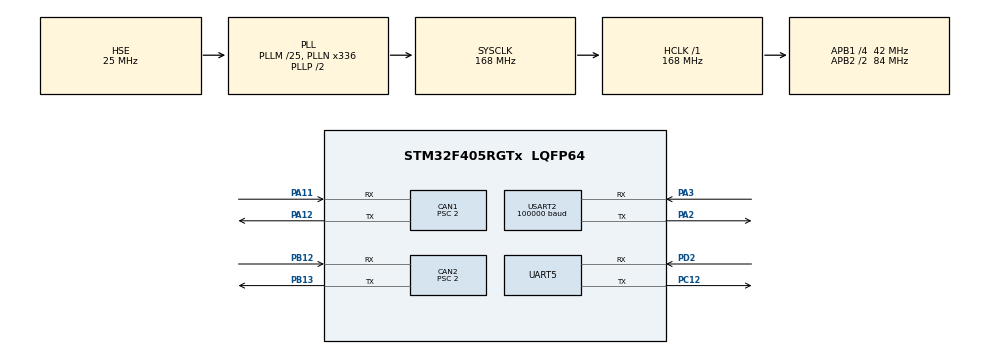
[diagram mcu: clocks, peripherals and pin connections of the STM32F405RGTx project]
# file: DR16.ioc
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CAN1.BS1=CAN_BS1_15TQ
CAN1.BS2=CAN_BS2_5TQ
CAN1.CalculateBaudRate=1000000
CAN1.CalculateTimeBit=1000
CAN1.CalculateTimeQuantum=47.61904761904762
CAN1.Prescaler=2
CAN1.SJW=CAN_SJW_2TQ
CAN2.BS1=CAN_BS1_15TQ
CAN2.BS2=CAN_BS2_5TQ
CAN2.CalculateBaudRate=1000000
CAN2.CalculateTimeBit=1000
CAN2.CalculateTimeQuantum=47.61904761904762
CAN2.Prescaler=2
CAN2.SJW=CAN_SJW_2TQ
Dma.Request0=USART2_RX
Dma.USART2_RX.0.Direction=DMA_PERIPH_TO_MEMORY
Dma.USART2_RX.0.FIFOMode=DMA_FIFOMODE_DISABLE
Dma.USART2_RX.0.Instance=DMA1_Stream5
Dma.USART2_RX.0.MemDataAlignment=DMA_MDATAALIGN_BYTE
Dma.USART2_RX.0.MemInc=DMA_MINC_ENABLE
Dma.USART2_RX.0.Mode=DMA_CIRCULAR
Dma.USART2_RX.0.PeriphDataAlignment=DMA_PDATAALIGN_BYTE
Dma.USART2_RX.0.PeriphInc=DMA_PINC_DISABLE
Dma.USART2_RX.0.Priority=DMA_PRIORITY_VERY_HIGH
FREERTOS.Tasks01=defaultTask,24,128,StartDefaultTask,Default,NULL,Dynamic,NULL,NULL;friction,8,128,vfriction,Default,NULL,Dynamic,NULL,NULL;Dial,8,128,vDial,Default,NULL,Dynamic,NULL,NULL;pitch,8,128,vpitch,Default,NULL,Dynamic,NULL,NULL;yaw,8,128,vyaw,Default,NULL,Dynamic,NULL,NULL
Mcu.Family=STM32F4
Mcu.Name=STM32F405RGTx
Mcu.Package=LQFP64
NVIC.CAN1_RX0_IRQn=true\:5\:0\:false\:false\:true\:true\:true\:true\:true
NVIC.CAN2_RX0_IRQn=true\:5\:0\:false\:false\:true\:true\:true\:true\:true
NVIC.DMA1_Stream5_IRQn=true\:5\:0\:false\:false\:true\:true\:false\:true\:true
NVIC.PriorityGroup=NVIC_PRIORITYGROUP_4
NVIC.TIM7_IRQn=true\:15\:0\:false\:false\:true\:false\:false\:true\:true
NVIC.TimeBase=TIM7_IRQn
NVIC.TimeBaseIP=TIM7
NVIC.USART2_IRQn=true\:5\:0\:false\:false\:true\:true\:true\:true\:true
PA11.Mode=CAN_Activate
PA11.Signal=CAN1_RX
PA12.Mode=CAN_Activate
PA12.Signal=CAN1_TX
PA13.Mode=Serial_Wire
PA13.Signal=SYS_JTMS-SWDIO
PA14.Mode=Serial_Wire
PA14.Signal=SYS_JTCK-SWCLK
PA2.Mode=Asynchronous
PA2.Signal=USART2_TX
PA3.Mode=Asynchronous
PA3.Signal=USART2_RX
PB12.Mode=CAN_Activate
PB12.Signal=CAN2_RX
PB13.Mode=CAN_Activate
PB13.Signal=CAN2_TX
PC12.Mode=Asynchronous
PC12.Signal=UART5_TX
PC14-OSC32_IN.Mode=LSE-External-Oscillator
PC14-OSC32_IN.Signal=RCC_OSC32_IN
PC15-OSC32_OUT.Mode=LSE-External-Oscillator
PC15-OSC32_OUT.Signal=RCC_OSC32_OUT
PD2.Mode=Asynchronous
PD2.Signal=UART5_RX
PH0-OSC_IN.Mode=HSE-External-Oscillator
PH0-OSC_IN.Signal=RCC_OSC_IN
PH1-OSC_OUT.Mode=HSE-External-Oscillator
PH1-OSC_OUT.Signal=RCC_OSC_OUT
ProjectManager.HeapSize=0x200
ProjectManager.StackSize=0x400
ProjectManager.TargetToolchain=MDK-ARM V5.32
RCC.48MHZClocksFreq_Value=84000000
RCC.AHBFreq_Value=168000000
RCC.APB1CLKDivider=RCC_HCLK_DIV4
RCC.APB1Freq_Value=42000000
RCC.APB1TimFreq_Value=84000000
RCC.APB2CLKDivider=RCC_HCLK_DIV2
RCC.APB2Freq_Value=84000000
RCC.APB2TimFreq_Value=168000000
RCC.CortexFreq_Value=168000000
RCC.HCLKFreq_Value=168000000
RCC.HSE_VALUE=25000000
RCC.HSI_VALUE=16000000
RCC.PLLM=25
RCC.PLLN=336
RCC.PLLSourceVirtual=RCC_PLLSOURCE_HSE
RCC.SYSCLKFreq_VALUE=168000000
RCC.SYSCLKSource=RCC_SYSCLKSOURCE_PLLCLK
RCC.VCOOutputFreq_Value=336000000
UART5.VirtualMode=Asynchronous
USART2.BaudRate=100000
USART2.Parity=PARITY_EVEN
USART2.VirtualMode=VM_ASYNC
USART2.WordLength=WORDLENGTH_8B
VP_FREERTOS_VS_CMSIS_V2.Mode=CMSIS_V2
VP_SYS_VS_tim7.Mode=TIM7
board=custom

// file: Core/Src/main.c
/* USER CODE BEGIN Header */
/**
  ******************************************************************************
  * @file           : main.c
  * @brief          : Main program body
  ******************************************************************************
  * @attention
  *
  * Copyright (c) 2024 STMicroelectronics.
  * All rights reserved.
  *
  * This software is licensed under terms that can be found in the LICENSE file
  * in the root directory of this software component.
  * If no LICENSE file comes with this software, it is provided AS-IS.
  *
  ******************************************************************************
  */
/* USER CODE END Header */
#include "main.h"
#include "cmsis_os.h"
#include "can.h"
#include "dma.h"
#include "usart.h"
#include "gpio.h"

void SystemClock_Config(void);
void MX_FREERTOS_Init(void);

int main(void)
{

  /* MCU Configuration--------------------------------------------------------*/

  /* Reset of all peripherals, Initializes the Flash interface and the Systick. */
  HAL_Init();

  /* Configure the system clock */
  SystemClock_Config();

  /* Initialize all configured peripherals */
  MX_GPIO_Init();
  MX_DMA_Init();
  MX_CAN1_Init();
  MX_USART2_UART_Init();
  MX_CAN2_Init();
  MX_UART5_Init();
  /* USER CODE BEGIN 2 */
  dbus_uart_init();

  /* USER CODE END 2 */

  /* Init scheduler */
  osKernelInitialize();

  /* Call init function for freertos objects (in cmsis_os2.c) */
  MX_FREERTOS_Init();

  /* Start scheduler */
  osKernelStart();

  /* We should never get here as control is now taken by the scheduler */

  /* Infinite loop */
  while (1)
  {

  }
}

void SystemClock_Config(void)
{
  RCC_OscInitTypeDef RCC_OscInitStruct = {0};
  RCC_ClkInitTypeDef RCC_ClkInitStruct = {0};

  /** Configure the main internal regulator output voltage
  */
  __HAL_RCC_PWR_CLK_ENABLE();
  __HAL_PWR_VOLTAGESCALING_CONFIG(PWR_REGULATOR_VOLTAGE_SCALE1);

  /** Initializes the RCC Oscillators according to the specified parameters
  * in the RCC_OscInitTypeDef structure.
  */
  RCC_OscInitStruct.OscillatorType = RCC_OSCILLATORTYPE_HSE;
  RCC_OscInitStruct.HSEState = RCC_HSE_ON;
  RCC_OscInitStruct.PLL.PLLState = RCC_PLL_ON;
  RCC_OscInitStruct.PLL.PLLSource = RCC_PLLSOURCE_HSE;
  RCC_OscInitStruct.PLL.PLLM = 25;
  RCC_OscInitStruct.PLL.PLLN = 336;
  RCC_OscInitStruct.PLL.PLLP = RCC_PLLP_DIV2;
  RCC_OscInitStruct.PLL.PLLQ = 4;
  if (HAL_RCC_OscConfig(&RCC_OscInitStruct) != HAL_OK)
  {
    Error_Handler();
  }

  /** Initializes the CPU, AHB and APB buses clocks
  */
  RCC_ClkInitStruct.ClockType = RCC_CLOCKTYPE_HCLK|RCC_CLOCKTYPE_SYSCLK
                              |RCC_CLOCKTYPE_PCLK1|RCC_CLOCKTYPE_PCLK2;
  RCC_ClkInitStruct.SYSCLKSource = RCC_SYSCLKSOURCE_PLLCLK;
  RCC_ClkInitStruct.AHBCLKDivider = RCC_SYSCLK_DIV1;
  RCC_ClkInitStruct.APB1CLKDivider = RCC_HCLK_DIV4;
  RCC_ClkInitStruct.APB2CLKDivider = RCC_HCLK_DIV2;

  if (HAL_RCC_ClockConfig(&RCC_ClkInitStruct, FLASH_LATENCY_5) != HAL_OK)
  {
    Error_Handler();
  }
}

void HAL_TIM_PeriodElapsedCallback(TIM_HandleTypeDef *htim)
{
  if (htim->Instance == TIM7) {
    HAL_IncTick();
  }
}

void Error_Handler(void)
{
  __disable_irq();
  while (1)
  {
  }
}

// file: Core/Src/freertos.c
/* USER CODE BEGIN Header */
/**
  ******************************************************************************
  * File Name          : freertos.c
  * Description        : Code for freertos applications
  ******************************************************************************
  * @attention
  *
  * Copyright (c) 2024 STMicroelectronics.
  * All rights reserved.
  *
  * This software is licensed under terms that can be found in the LICENSE file
  * in the root directory of this software component.
  * If no LICENSE file comes with this software, it is provided AS-IS.
  *
  ******************************************************************************
  */
/* USER CODE END Header */

#include "FreeRTOS.h"
#include "task.h"
#include "main.h"
#include "cmsis_os.h"

/* USER CODE BEGIN Includes */
#include "can.h"
#include "pid.h"
#include "usart.h"
#include <stdio.h>

pid_struct_t motor_pid_Single;//定义摩擦轮pid结构�?
float speedTarget = 0;//摩擦轮使�?

pid_Cascade_t motor_pid_Cas;//定义串级pid结构体用于拨盘电�?
float angleTarget = 0;//拨盘电机使用

float Rotor_angle;//拨盘电机多圈角度

uint8_t singleflag = 0;//拨盘电机单发标志

pid_Cascade_t motor_pid_Cas2;//定义串级pid结构体用于pitch电机
float angleTarget2 = 60;//pitch电机使用  57.1~107.0(全向�?)
float Rotor_angle2;//pitch电机当前角度
uint8_t pitchflag = 0;

pid_Cascade_t motor_pid_Cas3;//定义串级pid结构体用于yaw电机
float angleTarget3 = 0;//yaw电机使用
float Rotor_angle3;//yaw电机当前角度

/* USER CODE END Includes */

/* Definitions for defaultTask */
osThreadId_t defaultTaskHandle;
const osThreadAttr_t defaultTask_attributes = {
  .name = "defaultTask",
  .stack_size = 128 * 4,
  .priority = (osPriority_t) osPriorityNormal,
};
/* Definitions for friction */
osThreadId_t frictionHandle;
const osThreadAttr_t friction_attributes = {
  .name = "friction",
  .stack_size = 128 * 4,
  .priority = (osPriority_t) osPriorityLow,
};
/* Definitions for Dial */
osThreadId_t DialHandle;
const osThreadAttr_t Dial_attributes = {
  .name = "Dial",
  .stack_size = 128 * 4,
  .priority = (osPriority_t) osPriorityLow,
};
/* Definitions for pitch */
osThreadId_t pitchHandle;
const osThreadAttr_t pitch_attributes = {
  .name = "pitch",
  .stack_size = 128 * 4,
  .priority = (osPriority_t) osPriorityLow,
};
/* Definitions for yaw */
osThreadId_t yawHandle;
const osThreadAttr_t yaw_attributes = {
  .name = "yaw",
  .stack_size = 128 * 4,
  .priority = (osPriority_t) osPriorityLow,
};

void StartDefaultTask(void *argument);
void vfriction(void *argument);
void vDial(void *argument);
void vpitch(void *argument);
void vyaw(void *argument);

void MX_FREERTOS_Init(void); /* (MISRA C 2004 rule 8.1) */

void MX_FREERTOS_Init(void) {

  /* Create the thread(s) */
  /* creation of defaultTask */
  defaultTaskHandle = osThreadNew(StartDefaultTask, NULL, &defaultTask_attributes);

  /* creation of friction */
  frictionHandle = osThreadNew(vfriction, NULL, &friction_attributes);

  /* creation of Dial */
  DialHandle = osThreadNew(vDial, NULL, &Dial_attributes);

  /* creation of pitch */
  pitchHandle = osThreadNew(vpitch, NULL, &pitch_attributes);

  /* creation of yaw */
  yawHandle = osThreadNew(vyaw, NULL, &yaw_attributes);

}

void StartDefaultTask(void *argument)
{
  /* USER CODE BEGIN StartDefaultTask */
  InitializeRemoteControl(&g_RemoteControlState); //初始化遥控器状�?�并创建对应定时�?
  Configure_Filter();
  Configure_Filter2();
  /* Infinite loop */
  for(;;)
  {
    vTaskDelete(NULL);
  }
  /* USER CODE END StartDefaultTask */
}

void vfriction(void *argument)
{
  /* USER CODE BEGIN vfriction */
//    Configure_Filter();//在默认任务中配置过滤�?
    pid_init(&motor_pid_Single,40,3,0,500,25000);
  /* Infinite loop */
  for(;;)
  {
      int16_t set_voltage1 = pid_calc(&motor_pid_Single, speedTarget, motor_info1.rotor_speed);//右摩擦轮
//      int16_t set_voltage2 = pid_calc(&motor_pid_Single, speedTarget, motor_info2.rotor_speed);//左摩擦轮

      if(g_RemoteControlState.isRemoteActive==false)
    {
        CAN_Transmit_1(0);
    }
    else
    {
        CAN_Transmit_1(set_voltage1);
    }

    if(rc.ch0>100)
    {
        speedTarget = 6000;
    }
    else
    {
        speedTarget = 0;
    }

    vTaskDelay(10);
  }
  /* USER CODE END vfriction */
}

void vDial(void *argument)
{
  /* USER CODE BEGIN vDial */
    pid_init(&motor_pid_Cas.inner, 20, 3, 0, 500, 16384);
    pid_init(&motor_pid_Cas.outer, 30, 1, 0, 500, 20000);
    motor_info3.c_Init = 0;
    motor_info3.round_cnt = 0;

    TickType_t xLastWakeTime;
    const TickType_t xFrequency = 50;//使拨盘单机的频率�?20Hz，即1发等50ms
    xLastWakeTime = xTaskGetTickCount();

  /* Infinite loop */
  for(;;)
  {
    Rotor_angle = (motor_info3.total_encoder *360)/8192/36;//将编码器刻度换成角度
    int16_t set_current = pid_CascadeCalc(&motor_pid_Cas,angleTarget,Rotor_angle,motor_info3.rotor_speed);
    if(g_RemoteControlState.isRemoteActive==false)
    {
        CAN_Transmit_3(0);
    }
    else
    {
        CAN_Transmit_3(set_current);
    }

    //连发
    if(rc.sw2 == 1)
    {
        if(rc.ch1 >= 400)
        {
            angleTarget = angleTarget+40;
            vTaskDelayUntil( &xLastWakeTime, xFrequency );
        }
        else
        {
            angleTarget = angleTarget;
        }
    }
    //单发
    else if(rc.sw2 == 2)
    {
        if(rc.sw1 == 2)
        singleflag = 0;

        if(rc.sw1 == 1 && singleflag == 0)
        {
            angleTarget = angleTarget+40;
            singleflag = 1;//将单发标志位�?1，使其无法发�?
        }
    }
    vTaskDelay(10);
  }
  /* USER CODE END vDial */
}

void vpitch(void *argument)
{
  /* USER CODE BEGIN vpitch */
    pid_init(&motor_pid_Cas2.inner, 40, 0, 0, 500, 25000);
    pid_init(&motor_pid_Cas2.outer, 10, 3, 0, 500, 10000);
    motor_info4.c_Init = 0;
    motor_info4.round_cnt = 0;
  /* Infinite loop */
  for(;;)
  {
        Rotor_angle2 = (motor_info4.rotor_angle *360)/8192;
        int16_t set_voltage3 = pid_CascadeCalc(&motor_pid_Cas2,angleTarget2,Rotor_angle2,motor_info4.rotor_speed);

        if(g_RemoteControlState.isRemoteActive==false)
        {
            CAN_Transmit_4(0);
        }
        else
        {
//            CAN_Transmit_4(set_voltage3);
        }

//        if((rc.ch3 >= 400) && (motor_info4.rotor_angle <= 1198))//舵轮
//        {
//            angleTarget2 = angleTarget2+30;
//            vTaskDelay(3000);
//        }
//        else if((rc.ch3 <= -400) && (motor_info4.rotor_angle >= 87))
//        {
//            angleTarget2 = angleTarget2-30;
//            vTaskDelay(3000);
//        }

        if((rc.ch3 >= 400) && (motor_info4.rotor_angle <= 2412))//全向�?
        {
            angleTarget2 = angleTarget2+30;
            vTaskDelay(2000);
        }
        else if((rc.ch3 <= -400) && (motor_info4.rotor_angle >= 1272))
        {
            angleTarget2 = angleTarget2-30;
            vTaskDelay(2000);
        }

    vTaskDelay(1);
  }
  /* USER CODE END vpitch */
}

void vyaw(void *argument)
{
  /* USER CODE BEGIN vyaw */
    pid_init(&motor_pid_Cas3.inner, 20, 0, 0, 500, 25000);
    pid_init(&motor_pid_Cas3.outer, 100, 0, 0, 500, 10000);
    motor_info5.c_Init = 0;
    motor_info5.round_cnt = 0;

  /* Infinite loop */
  for(;;)
  {
        Rotor_angle3 = (motor_info5.rotor_angle *360)/8192;
        int16_t set_voltage4 = pid_CascadeCalc(&motor_pid_Cas3,angleTarget3,Rotor_angle3,motor_info5.rotor_speed);

        if(g_RemoteControlState.isRemoteActive==false)
        {
            CAN_Transmit_5(0);
        }
        else
        {
            CAN_Transmit_5(set_voltage4);
        }

        if(rc.ch2 >= 400)
        {
            angleTarget3 = angleTarget3+30;
            vTaskDelay(1000);
        }
        else if(rc.ch2 <= -400)
        {
            angleTarget3 = angleTarget3-30;
            vTaskDelay(1000);
        }
        printf("angle: %f,%f\n",Rotor_angle3,angleTarget3);

    vTaskDelay(1);
  }
  /* USER CODE END vyaw */
}
